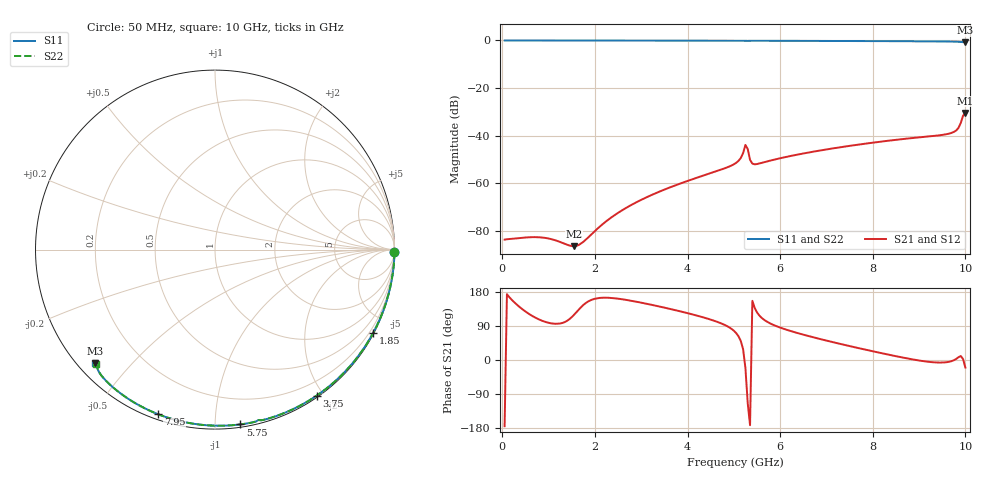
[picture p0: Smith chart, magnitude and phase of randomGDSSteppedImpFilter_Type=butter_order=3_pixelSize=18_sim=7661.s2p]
! freq	dB(S11)	phase(S11)	dB(S12)	phase(S12)
!  dB(S21)	phase(S21)	dB(S22)	phase(S22)
!S-par simulation data
#  GHz  S  DB  R 50
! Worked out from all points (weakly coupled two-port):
!   200 points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, 50 MHz to 10 GHz, reference 50 ohm
!   highest |S21| = -30.49 dB at 10 GHz (marker M1); lowest = -86.4 dB at 1.55 GHz (marker M2)
!   lowest |S11| = -0.7 dB at 10 GHz (marker M3), VSWR 23.75, Z = 2.44 - j19.9 ohm
!   |S11| at or under -10 dB: nowhere
!   |S22| runs from -0.7 to 0.0 dB; largest |S21 - S12| = 0
!   S11 on the Smith chart (normalised r, x): 50 MHz: open; 1.85 GHz: 0.04, -4.03; 3.75 GHz: 0.02, -1.92; 5.75 GHz: 0.02, -1.16; 7.95 GHz: 0.02, -0.71; 10 GHz: 0.05, -0.40
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0.05  -0.00 -0.8  -83.67 -174.7  -83.67 -174.7  -0.00 -0.8
1.55  -0.03 -23.4  -86.42 119.4  -86.42 119.4  -0.03 -23.4
1.75  -0.03 -26.4  -84.60 145.2  -84.60 145.2  -0.03 -26.4
1.85  -0.04 -27.8  -82.85 154.1  -82.85 154.1  -0.04 -27.8
2  -0.04 -30.1  -80.07 161.7  -80.07 161.7  -0.04 -30.1
2.65  -0.05 -39.5  -70.60 159.1  -70.60 159.1  -0.05 -39.5
3.4  -0.07 -50.2  -63.45 140.9  -63.45 140.9  -0.07 -50.2
3.75  -0.07 -55.1  -60.78 131.1  -60.78 131.1  -0.07 -55.1
5.05  -0.11 -72.8  -51.40 71.1  -51.40 71.1  -0.11 -72.8
5.15  -0.12 -74.1  -49.38 50.2  -49.38 50.2  -0.12 -74.1
5.25  -0.17 -75.6  -43.89 -21.1  -43.89 -21.1  -0.17 -75.6
5.3  -0.18 -75.7  -45.61 -114.4  -45.61 -114.4  -0.18 -75.7
5.35  -0.14 -76.4  -50.16 -172.0  -50.16 -172.0  -0.14 -76.4
5.4  -0.13 -77.1  -51.74 156.2  -51.74 156.2  -0.13 -77.1
5.75  -0.14 -81.7  -50.66 98.8  -50.66 98.8  -0.14 -81.7
6.7  -0.18 -93.7  -46.77 60.4  -46.77 60.4  -0.18 -93.7
7.95  -0.26 -109.0  -43.07 24.3  -43.07 24.3  -0.26 -109.0
8.35  -0.29 -113.8  -42.09 13.8  -42.09 13.8  -0.29 -113.8
9.7  -0.47 -131.2  -38.83 -3.0  -38.83 -3.0  -0.47 -131.2
9.85  -0.56 -133.9  -36.75 7.2  -36.75 7.2  -0.56 -133.8
9.95  -0.72 -135.7  -31.59 2.4  -31.59 2.4  -0.71 -135.6
10  -0.73 -136.5  -30.49 -20.1  -30.49 -20.1  -0.72 -136.3
